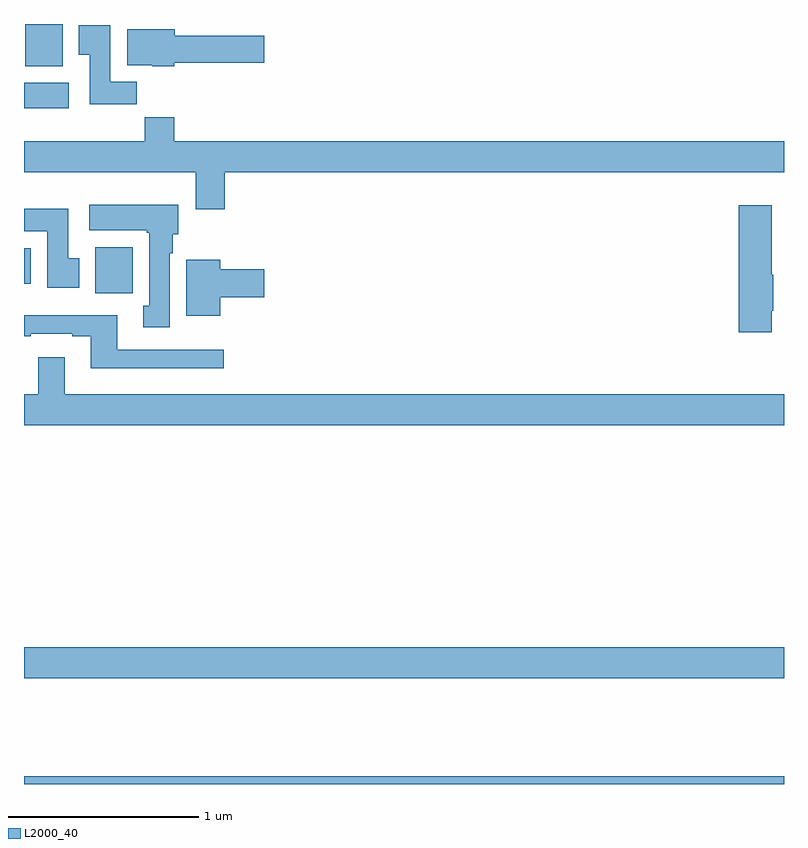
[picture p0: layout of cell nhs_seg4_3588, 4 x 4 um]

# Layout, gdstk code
import gdstk
lib = gdstk.Library(unit=1e-6, precision=1e-09)
def R(c, l, rs):  # rectangles x0, y0, x1, y1
    for r in rs: c.add(gdstk.rectangle(r[:2], r[2:], *l))
def P(c, l, *ps):  # polygons
    for p in ps: c.add(gdstk.Polygon(p, *l))
L2000_40 = (2000, 40)

nhs_seg4_3588 = lib.new_cell('nhs_seg4_3588')
R(nhs_seg4_3588, L2000_40, [(299,826.9,303,826.94), (299,827.456,303,827.62), (299.375,829.484,299.572,829.726), (299,829.532,299.035,829.72), (299,830.456,299.236,830.59), (299.007,830.678,299.203,830.9)])
P(nhs_seg4_3588, L2000_40, [(299.594,830.596),(299.455,830.596),(299.455,830.893),(299.288,830.893),(299.288,830.737),(299.345,830.737),(299.345,830.478),(299.594,830.478)],
  [(299.79,830.695),(300.265,830.695),(300.265,830.837),(299.794,830.837),(299.794,830.872),(299.543,830.872),(299.543,830.684),(299.676,830.684),(299.676,830.678),(299.79,830.678)],
  [(300.056,830.12),(303,830.12),(303,830.284),(299.792,830.284),(299.792,830.408),(299.635,830.408),(299.635,830.284),(299,830.284),(299,830.12),(299.903,830.12),(299.903,829.926),(300.056,829.926)],
  [(299.767,829.694),(299.782,829.694),(299.782,829.794),(299.812,829.794),(299.812,829.948),(299.343,829.948),(299.343,829.814),(299.647,829.814),(299.647,829.801),(299.66,829.801),(299.66,829.418),(299.627,829.418),(299.627,829.305),(299.767,829.305)],
  [(302.935,829.39),(302.943,829.39),(302.943,829.579),(302.935,829.579),(302.935,829.945),(302.762,829.945),(302.762,829.278),(302.935,829.278)],
  [(299.29,829.668),(299.233,829.668),(299.233,829.927),(299,829.927),(299,829.808),(299.123,829.808),(299.123,829.512),(299.29,829.512)],
  [(300.034,829.463),(300.265,829.463),(300.265,829.61),(300.034,829.61),(300.034,829.66),(299.855,829.66),(299.855,829.364),(300.034,829.364)],
  [(300.052,829.185),(299.491,829.185),(299.491,829.366),(299,829.366),(299,829.257),(299.035,829.257),(299.035,829.269),(299.255,829.269),(299.255,829.257),(299.351,829.257),(299.351,829.088),(300.052,829.088)],
  [(303,828.952),(299.215,828.952),(299.215,829.147),(299.075,829.147),(299.075,828.952),(299,828.952),(299,828.788),(303,828.788)])

lib.write_gds('nhs_seg4_3588.gds')
